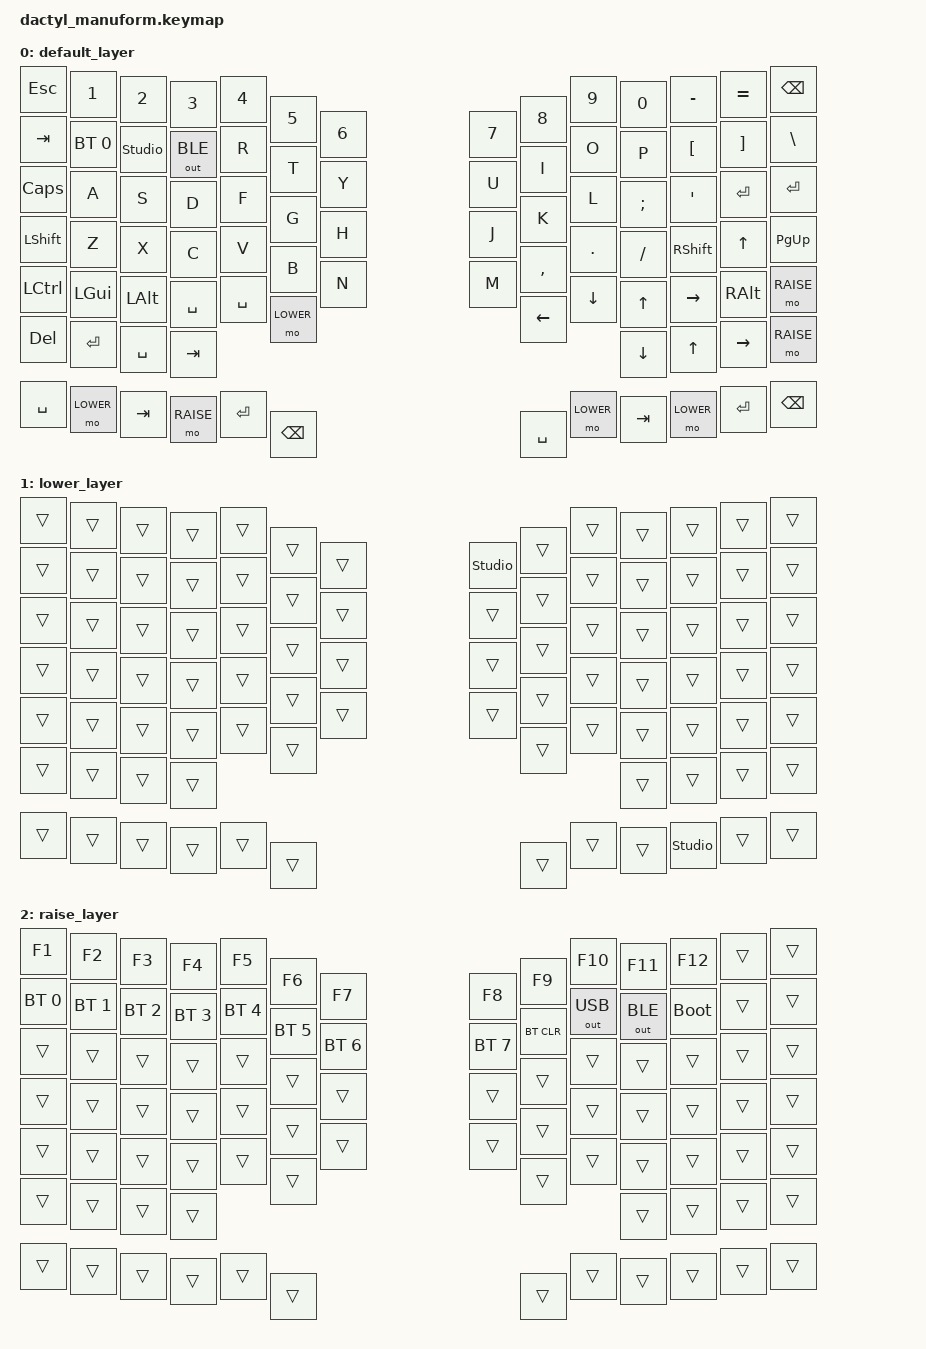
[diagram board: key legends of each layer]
// Physical layout positions (88 keys, 7 rows x 14 cols)
//
//   R0: [00][01][02][03][04][05][06]   [07][08][09][10][11][12][13]
//   R1: [14][15][16][17][18][19][20]   [21][22][23][24][25][26][27]
//   R2: [28][29][30][31][32][33][34]   [35][36][37][38][39][40][41]
//   R3: [42][43][44][45][46][47][48]   [49][50][51][52][53][54][55]
//   R4: [56][57][58][59][60][61]           [62][63][64][65][66][67]
//   R5: [68][69][70][71]                       [72][73][74][75]
//   R6: [76][77][78][79][80][81]       [82][83][84][85][86][87]
//
//   Pinky: col0/col13  Ring: col1/col12  Mid: col2/col11
//   Index: col3/col10  Inner: col4/col9  Thumb: col5-6/col7-8

#include <behaviors.dtsi>
#include <dt-bindings/zmk/keys.h>
#include <dt-bindings/zmk/bt.h>
#include <dt-bindings/zmk/outputs.h>
#include <dt-bindings/zmk/ext_power.h>
#include <dt-bindings/zmk/rgb.h>

#define DEFAULT 0
#define LOWER   1
#define RAISE   2

/ {
	keymap {
		compatible = "zmk,keymap";

		default_layer {
			bindings = <
&kp ESC  &kp N1    &kp N2    &kp N3   &kp N4   &kp N5    &kp N6      &kp N7   &kp N8   &kp N9   &kp N0   &kp MINUS &kp EQUAL &kp BSPC
&kp TAB  &bt BT_SEL 0     &studio_unlock     &out OUT_BLE    &kp R    &kp T     &kp Y       &kp U    &kp I    &kp O    &kp P    &kp LBKT  &kp RBKT  &kp BSLH
&kp CAPS &kp A     &kp S     &kp D    &kp F    &kp G     &kp H       &kp J    &kp K    &kp L    &kp SEMI &kp SQT   &kp ENTER &kp ENTER
&kp LSHFT &kp Z    &kp X     &kp C    &kp V    &kp B     &kp N       &kp M    &kp COMMA &kp DOT &kp FSLH &kp RSHFT &kp UP    &kp PG_UP
&kp LCTRL &kp LGUI &kp LALT  &kp SPACE &kp SPACE &mo LOWER          &kp LEFT &kp DOWN &kp UP   &kp RIGHT &kp RALT  &mo RAISE
&kp DEL   &kp ENTER &kp SPACE &kp TAB                                 &kp DOWN &kp UP   &kp RIGHT &mo RAISE
&kp SPACE &mo LOWER &kp TAB  &mo RAISE &kp ENTER &kp BSPC             &kp SPACE &mo LOWER &kp TAB &mo LOWER &kp ENTER &kp BSPC
			>;
		};

		lower_layer {
			bindings = <
&trans &trans &trans &trans &trans &trans &trans  &studio_unlock &trans &trans &trans &trans &trans &trans
&trans &trans &trans &trans &trans &trans &trans  &trans &trans &trans &trans &trans &trans &trans
&trans &trans &trans &trans &trans &trans &trans  &trans &trans &trans &trans &trans &trans &trans
&trans &trans &trans &trans &trans &trans &trans  &trans &trans &trans &trans &trans &trans &trans
&trans &trans &trans &trans &trans &trans          &trans &trans &trans &trans &trans &trans
&trans &trans &trans &trans                        &trans &trans &trans &trans
&trans &trans &trans &trans &trans &trans          &trans &trans &trans &studio_unlock &trans &trans
			>;
		};

		raise_layer {
			bindings = <
&kp F1 &kp F2    &kp F3    &kp F4   &kp F5   &kp F6    &kp F7     &kp F8   &kp F9   &kp F10  &kp F11  &kp F12  &trans  &trans
&bt BT_SEL 0 &bt BT_SEL 1 &bt BT_SEL 2 &bt BT_SEL 3 &bt BT_SEL 4 &bt BT_SEL 5 &bt BT_SEL 6 &bt BT_SEL 7 &bt BT_CLR &out OUT_USB &out OUT_BLE &bootloader &trans &trans
&trans &trans &trans &trans &trans &trans &trans  &trans &trans &trans &trans &trans &trans &trans
&trans &trans &trans &trans &trans &trans &trans  &trans &trans &trans &trans &trans &trans &trans
&trans &trans &trans &trans &trans &trans          &trans &trans &trans &trans &trans &trans
&trans &trans &trans &trans                        &trans &trans &trans &trans
&trans &trans &trans &trans &trans &trans          &trans &trans &trans &trans &trans &trans
			>;
		};

		extra_4 {
			status = "reserved";
		};
		extra_5 {
			status = "reserved";
		};
		extra_6 {
			status = "reserved";
		};
		extra_7 {
			status = "reserved";
		};
		extra_8 {
			status = "reserved";
		};
		extra_9 {
			status = "reserved";
		};
		extra_10 {
			status = "reserved";
		};
		extra_11 {
			status = "reserved";
		};
		extra_12 {
			status = "reserved";
		};
		extra_13 {
			status = "reserved";
		};
		extra_14 {
			status = "reserved";
		};
		extra_15 {
			status = "reserved";
		};
		extra_16 {
			status = "reserved";
		};
	};
};


/*
qwe
asd
zxc
*/
